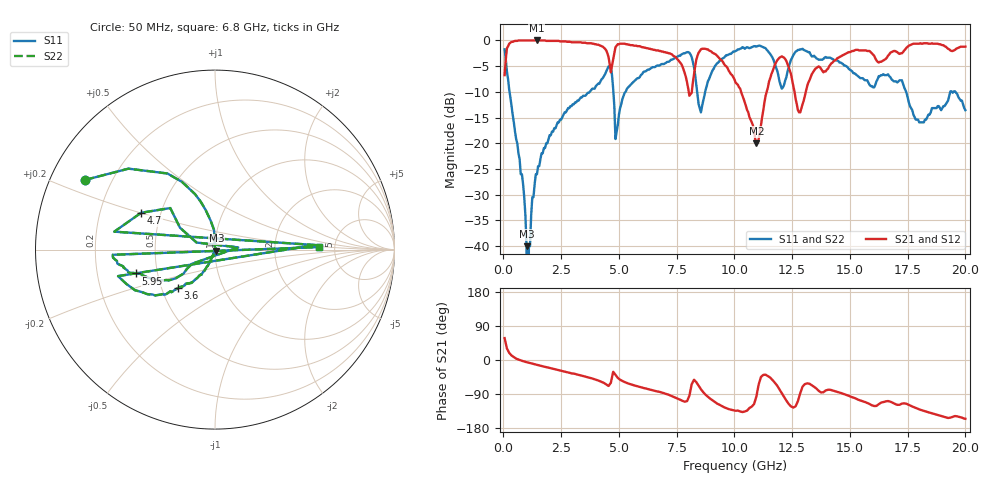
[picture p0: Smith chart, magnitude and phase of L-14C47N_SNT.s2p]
#	mhz	s	ma	r	50
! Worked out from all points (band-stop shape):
!   400 points, 50 MHz to 20 GHz, reference 50 ohm
!   highest |S21| = 0.00 dB at 1.45 GHz (marker M1); lowest = -20.0 dB at 10.95 GHz (marker M2)
!   |S21| within 3 dB of the highest: 116.7 MHz to 4.535 GHz (4.418 GHz wide, 190 % of centre); 16.65 GHz to end of sweep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
!   lowest |S11| = -40.0 dB at 1 GHz (marker M3), VSWR 1.02, Z = 50.8 - j0.587 ohm
!   |S11| at or under -10 dB: 263 MHz to 3.731 GHz (3.468 GHz wide, 174 % of centre); 4.759 GHz to 5.281 GHz (522.1 MHz wide, 10.4 % of centre); 17.43 GHz to 19.34 GHz (1.91 GHz wide, 10.4 % of centre)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
!   |S22| runs from - to -1.0 dB; largest |S21 - S12| = 0
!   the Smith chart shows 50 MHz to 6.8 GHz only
!   S11 on the Smith chart (normalised r, x): 50 MHz: 0.11, +0.25; 3.6 GHz: 0.60, -0.29; 4.7 GHz: 0.39, +0.20; 5.95 GHz: 0.38, -0.13; 6.8 GHz: 3.75, +0.16
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50  0.82 151.7  0.46 57.8  0.46 57.8  0.82 151.7
1000  0.01 -35.3  1 -5.7  1 -5.7  0.01 -35.3
1050  0 -167.5  1 -6.5  1 -6.5  0 -167.5
1100  0.01 -139.5  1 -7.4  1 -7.4  0.01 -139.5
1450  0.05 -111.4  1 -12.8  1 -12.8  0.05 -111.4
3400  0.28 -132.4  0.95 -41.5  0.95 -41.5  0.28 -132.4
3600  0.3 -134.0  0.94 -44.6  0.94 -44.6  0.3 -134.0
4550  0.56 -164.7  0.69 -68.5  0.69 -68.5  0.56 -164.7
4600  0.56 2.6  0.59 -64.3  0.59 -64.3  0.56 2.6
4650  0.57 169.9  0.49 -60.1  0.49 -60.1  0.57 169.9
4700  0.46 153.5  0.57 -45.6  0.57 -45.6  0.46 153.5
4850  0.11 159.0  0.86 -39.3  0.86 -39.3  0.11 159.0
5950  0.46 -163.2  0.87 -71.7  0.87 -71.7  0.46 -163.2
6700  0.57 -176.3  0.8 -83.4  0.8 -83.4  0.57 -176.3
6750  0.57 -177.1  0.79 -83.9  0.79 -83.9  0.57 -177.1
6800  0.58 1.4  0.79 -84.9  0.79 -84.9  0.58 1.4
6850  0.59 179.9  0.78 -86.0  0.78 -86.0  0.59 179.9
10050  0.79 129.0  0.39 -133.9  0.39 -133.9  0.79 129.0
10950  0.87 102.2  0.1 -96.4  0.1 -96.4  0.87 102.2
13350  0.7 58.8  0.47 -66.7  0.47 -66.7  0.7 58.8
16700  0.45 5.6  0.73 -109.1  0.73 -109.1  0.45 5.6
20000  0.21 -107.6  0.87 -155.2  0.87 -155.2  0.21 -107.6
